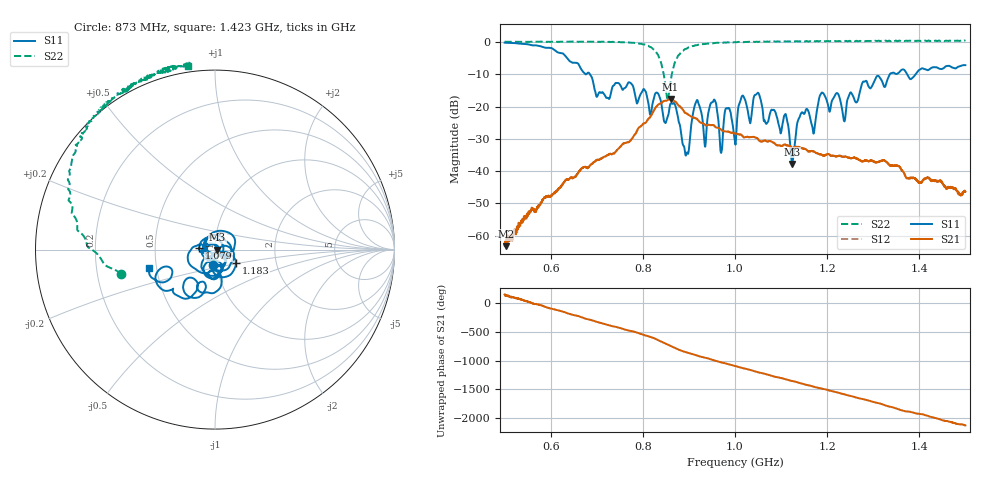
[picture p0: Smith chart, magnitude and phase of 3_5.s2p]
!Keysight Technologies,N5242B,MY48420860,A.13.80.08
!Date: Saturday, September 26, 2020 13:06:16
!Correction: S11(Full 2 Port(1,2))
!S21(Full 2 Port(1,2))
!S12(Full 2 Port(1,2))
!S22(Full 2 Port(1,2))
!S2P File: Measurements: S11, S21, S12, S22:
# Hz S  dB  R 50
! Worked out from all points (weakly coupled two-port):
!   2650 points, 500 MHz to 1.5 GHz, reference 50 ohm
!   highest |S21| = -17.67 dB at 860.1 MHz (marker M1); lowest = -63.3 dB at 502.3 MHz (marker M2)
!   lowest |S11| = -37.8 dB at 1.124 GHz (marker M3), VSWR 1.03, Z = 51.3 + j0.0153 ohm
!   |S11| at or under -10 dB: 675.4105 MHz to 677.1641 MHz (1.754 MHz wide, 0.259 % of centre); 685.2 MHz to 1.336 GHz (650.8 MHz wide, 64.4 % of centre); 1.374 GHz to 1.392 GHz (18.41 MHz wide, 1.33 % of centre)
!   |S22| runs from -18.0 to 0.5 dB; largest |S21 - S12| = 0.00057
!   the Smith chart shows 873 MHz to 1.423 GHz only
!   S11 on the Smith chart (normalised r, x): 873 MHz: 0.96, -0.17; 1.079 GHz: 0.84, +0.01; 1.183 GHz: 1.25, -0.18; 1.423 GHz: 0.46, -0.11
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5e8  -0.23 -166.2  -63.05 155.6  -63.03 145.8  0.05 147.8
5.02265e8  -0.25 -167.4  -63.25 149.3  -63.18 140.0  0.04 147.8
6.038128e8  -2.05 125.8  -47.34 -95.2  -47.39 -93.6  0.06 139.7
6.668554e8  -8.56 77.9  -39.18 119.6  -39.28 119.8  0.05 133.2
8.337108e8  -16.13 3.5  -19.35 76.6  -19.37 76.5  -4.26 64.7
8.601359e8  -19.10 -11.8  -17.67 -22.5  -17.69 -22.5  -12.33 -125.3
8.729709e8  -21.09 -98.4  -18.83 -72.6  -18.85 -72.7  -5.36 -165.7
8.94866e8  -34.47 -40.7  -22.13 -134.6  -22.16 -134.6  -2.10 168.5
9.171385e8  -18.07 44.1  -23.79 170.0  -23.80 170.0  -1.03 155.7
9.345036e8  -32.09 -20.6  -25.59 131.7  -25.61 131.7  -0.63 149.4
9.533786e8  -18.18 -48.7  -25.80 89.2  -25.81 89.1  -0.38 144.4
9.692337e8  -34.20 -80.7  -27.07 51.7  -27.10 51.7  -0.24 141.6
1.000189e9  -31.29 -85.0  -28.34 -12.9  -28.36 -12.8  -0.06 136.4
1.016044e9  -16.64 -96.2  -29.05 -50.0  -29.12 -50.0  -0.02 134.2
1.079464e9  -20.97 175.2  -30.88 175.6  -30.91 175.8  0.09 126.9
1.124009e9  -37.84 0.7  -32.85 84.6  -32.85 84.8  0.18 122.5
1.142129e9  -22.48 137.7  -32.78 45.6  -32.81 45.6  0.17 121.2
1.166667e9  -25.56 -49.1  -33.80 -5.2  -33.81 -5.2  0.13 118.4
1.182899e9  -17.26 -31.7  -34.80 -38.1  -34.80 -38.7  0.20 117.0
1.333522e9  -10.80 -116.4  -37.83 -0.8  -37.86 -0.4  0.41 105.1
1.422612e9  -8.39 -164.6  -42.39 -176.9  -42.48 -178.5  0.30 98.2
1.5e9  -7.19 165.8  -46.39 28.6  -46.43 28.7  0.33 91.5
